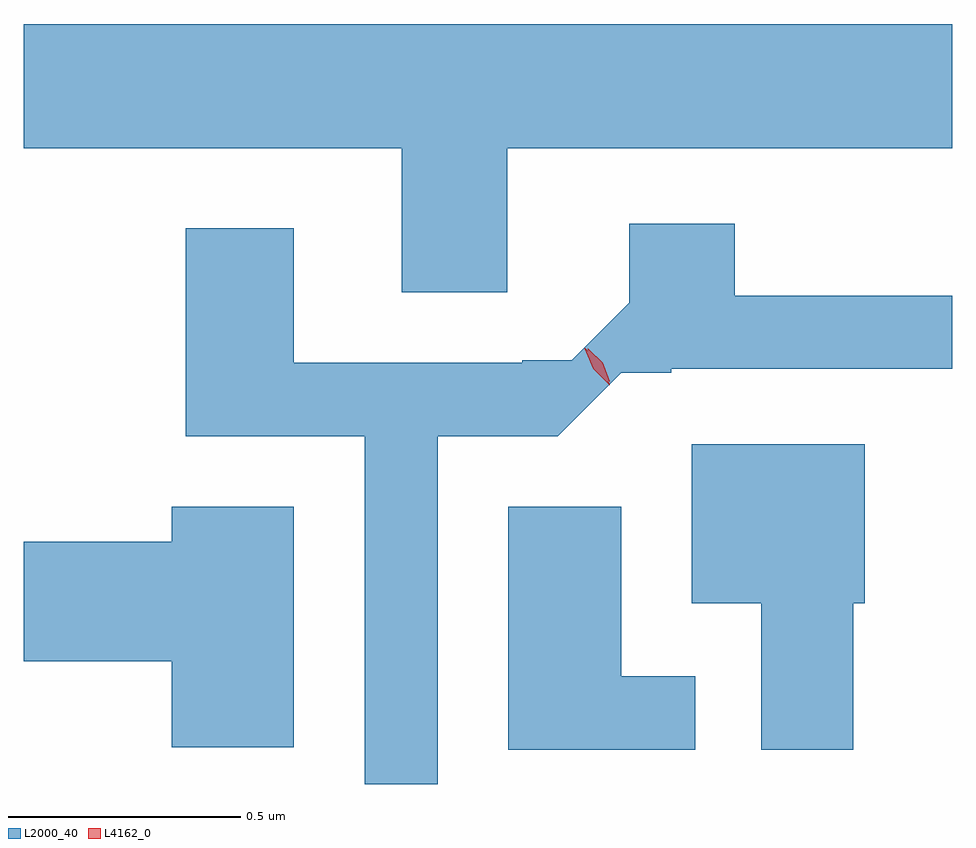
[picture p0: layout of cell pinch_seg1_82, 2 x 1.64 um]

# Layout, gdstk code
import gdstk
lib = gdstk.Library(unit=1e-6, precision=1e-09)
def P(c, l, *ps):  # polygons
    for p in ps: c.add(gdstk.Polygon(p, *l))
L2000_40 = (2000, 40)
L4162_0 = (4162, 0)

pinch_seg1_82 = lib.new_cell('pinch_seg1_82')
P(pinch_seg1_82, L2000_40, [(1402.969,870.716),(1403.927,870.716),(1403.927,870.984),(1401.927,870.984),(1401.927,870.716),(1402.741,870.716),(1402.741,870.406),(1402.969,870.406)],
  [(1402.819,870.096),(1403.077,870.096),(1403.214,870.233),(1403.322,870.233),(1403.322,870.241),(1403.927,870.241),(1403.927,870.399),(1403.459,870.399),(1403.459,870.554),(1403.231,870.554),(1403.231,870.384),(1403.107,870.26),(1403.001,870.26),(1403.001,870.254),(1402.509,870.254),(1402.509,870.544),(1402.276,870.544),(1402.276,870.096),(1402.661,870.096),(1402.661,869.347),(1402.819,869.347)],
  [(1403.714,869.736),(1403.739,869.736),(1403.739,870.079),(1403.366,870.079),(1403.366,869.736),(1403.516,869.736),(1403.516,869.421),(1403.714,869.421)],
  [(1402.509,869.944),(1402.246,869.944),(1402.246,869.869),(1401.927,869.869),(1401.927,869.611),(1402.246,869.611),(1402.246,869.426),(1402.509,869.426)],
  [(1403.373,869.579),(1403.214,869.579),(1403.214,869.944),(1402.971,869.944),(1402.971,869.421),(1403.373,869.421)])
P(pinch_seg1_82, L4162_0, [(1403.189,870.206),(1403.188,870.207),(1403.154,870.241),(1403.135,870.285),(1403.135,870.286),(1403.136,870.286),(1403.17,870.252),(1403.189,870.207)],
  [(1403.189,870.213),(1403.188,870.214),(1403.157,870.243),(1403.142,870.284),(1403.142,870.285),(1403.143,870.284),(1403.174,870.254),(1403.189,870.214)])

lib.write_gds('pinch_seg1_82.gds')
